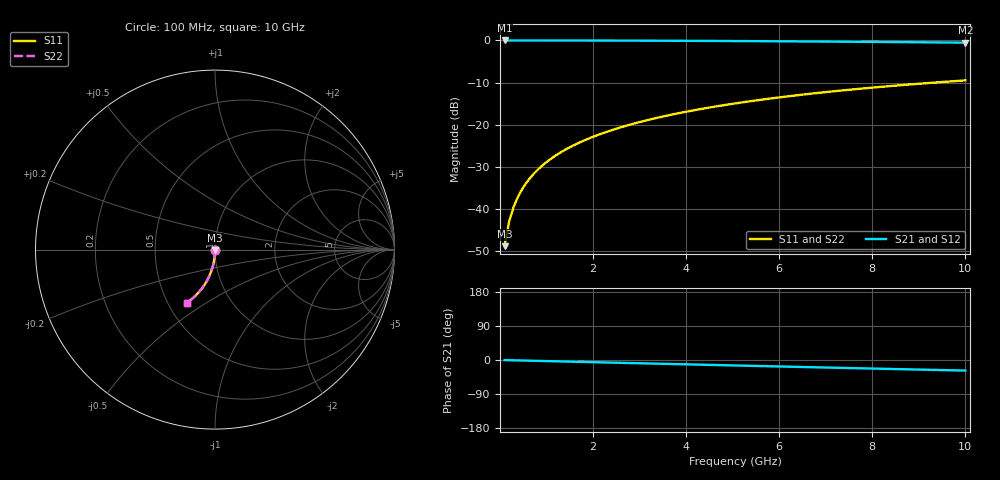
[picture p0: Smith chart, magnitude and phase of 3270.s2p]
# Hz S RI R 50.00
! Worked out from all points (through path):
!   100 points, 100 MHz to 10 GHz, reference 50 ohm
!   highest |S21| = 0.00 dB at 100 MHz (marker M1); lowest = -0.5 dB at 10 GHz (marker M2)
!   group delay of S21, straight-line fit = 7.78 ps
!   lowest |S11| = -48.9 dB at 100 MHz (marker M3), VSWR 1.01, Z = 50 - j0.359 ohm
!   |S11| at or under -10 dB: start of sweep to 9.351 GHz
!   |S22| runs from -48.9 to -9.5 dB; largest |S21 - S12| = 0
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1e8  0.000187 -0.00359  0.9998 -0.00501  0.9998 -0.00501  0.000187 -0.00359
2e8  0.00013 -0.00717  0.9997 -0.01  0.9997 -0.01  0.00013 -0.00717
3e8  3.75e-05 -0.0108  0.9996 -0.015  0.9996 -0.015  3.75e-05 -0.0108
4e8  -9.15e-05 -0.0143  0.9995 -0.02  0.9995 -0.02  -9.15e-05 -0.0143
5e8  -0.000256 -0.0179  0.9993 -0.025  0.9993 -0.025  -0.000256 -0.0179
6e8  -0.000457 -0.0215  0.9991 -0.03  0.9991 -0.03  -0.000457 -0.0215
7e8  -0.000694 -0.0251  0.9988 -0.035  0.9988 -0.035  -0.000694 -0.0251
8e8  -0.000967 -0.0287  0.9985 -0.04  0.9985 -0.04  -0.000967 -0.0287
9e8  -0.00128 -0.0322  0.9982 -0.045  0.9982 -0.045  -0.00128 -0.0322
1.1e9  -0.002 -0.0394  0.9974 -0.055  0.9974 -0.055  -0.002 -0.0394
1.4e9  -0.00335 -0.0501  0.996 -0.0699  0.996 -0.0699  -0.00335 -0.0501
1.8e9  -0.00566 -0.0642  0.9936 -0.0898  0.9936 -0.0898  -0.00566 -0.0642
2.1e9  -0.00775 -0.0748  0.9914 -0.1046  0.9914 -0.1046  -0.00775 -0.0748
2.5e9  -0.011 -0.0887  0.9879 -0.1242  0.9879 -0.1242  -0.011 -0.0887
2.9e9  -0.0149 -0.1025  0.9838 -0.1437  0.9838 -0.1437  -0.0149 -0.1025
3.4e9  -0.0204 -0.1194  0.978 -0.1678  0.978 -0.1678  -0.0204 -0.1194
4.2e9  -0.031 -0.1459  0.9668 -0.2057  0.9668 -0.2057  -0.031 -0.1459
5.1e9  -0.0452 -0.1743  0.9517 -0.2471  0.9517 -0.2471  -0.0452 -0.1743
5.9e9  -0.0598 -0.1982  0.9361 -0.2826  0.9361 -0.2826  -0.0598 -0.1982
6.7e9  -0.0761 -0.2207  0.9188 -0.3167  0.9188 -0.3167  -0.0761 -0.2207
8.4e9  -0.1155 -0.2633  0.8767 -0.3842  0.8767 -0.3842  -0.1155 -0.2633
1e10  -0.157 -0.2962  0.8319 -0.4407  0.8319 -0.4407  -0.157 -0.2962
